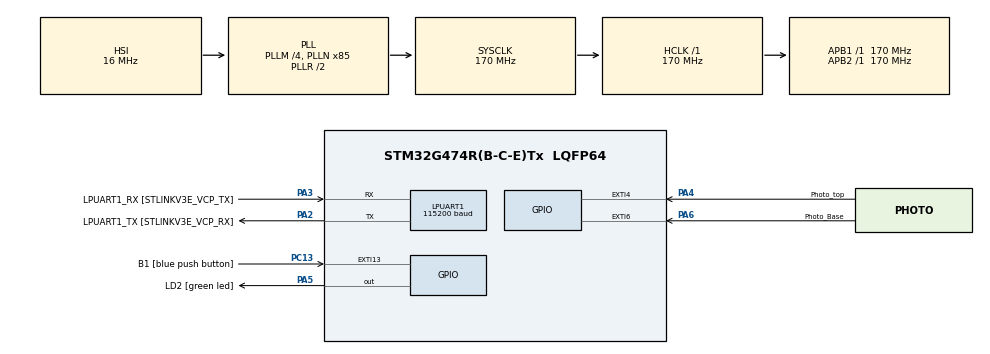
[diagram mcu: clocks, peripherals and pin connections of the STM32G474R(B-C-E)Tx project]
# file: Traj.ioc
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LPUART1.BaudRate=115200
LPUART1.WordLength=UART_WORDLENGTH_8B
Mcu.Family=STM32G4
Mcu.Name=STM32G474R(B-C-E)Tx
Mcu.Package=LQFP64
NVIC.EXTI15_10_IRQn=true\:0\:0\:false\:false\:true\:true\:true\:true
NVIC.PriorityGroup=NVIC_PRIORITYGROUP_4
PA13.GPIO_Label=T_SWDIO
PA13.Mode=Serial_Wire
PA13.Signal=SYS_JTMS-SWDIO
PA14.GPIO_Label=T_SWCLK
PA14.Mode=Serial_Wire
PA14.Signal=SYS_JTCK-SWCLK
PA2.GPIO_Label=LPUART1_TX [STLINKV3E_VCP_RX]
PA2.Mode=Asynchronous
PA2.Signal=LPUART1_TX
PA3.GPIO_Label=LPUART1_RX [STLINKV3E_VCP_TX]
PA3.Mode=Asynchronous
PA3.Signal=LPUART1_RX
PA4.GPIO_Label=Photo_top
PA4.Signal=GPXTI4
PA5.GPIO_Label=LD2 [green led]
PA5.Signal=GPIO_Output
PA6.GPIO_Label=Photo_Base
PA6.Signal=GPXTI6
PB3.GPIO_Label=T_SWO
PB3.Signal=SYS_JTDO-SWO
PC13.GPIO_Label=B1 [blue push button]
PC13.Signal=GPXTI13
PC14-OSC32_IN.Mode=LSE-External-Oscillator
PC14-OSC32_IN.Signal=RCC_OSC32_IN
PC15-OSC32_OUT.Mode=LSE-External-Oscillator
PC15-OSC32_OUT.Signal=RCC_OSC32_OUT
PF0-OSC_IN.Mode=HSE-External-Oscillator
PF0-OSC_IN.Signal=RCC_OSC_IN
PF1-OSC_OUT.Mode=HSE-External-Oscillator
PF1-OSC_OUT.Signal=RCC_OSC_OUT
ProjectManager.HeapSize=0x200
ProjectManager.StackSize=0x400
ProjectManager.TargetToolchain=STM32CubeIDE
RCC.ADC12Freq_Value=170000000
RCC.ADC345Freq_Value=170000000
RCC.AHBFreq_Value=170000000
RCC.APB1Freq_Value=170000000
RCC.APB1TimFreq_Value=170000000
RCC.APB2Freq_Value=170000000
RCC.APB2TimFreq_Value=170000000
RCC.CortexFreq_Value=170000000
RCC.EXTERNAL_CLOCK_VALUE=12288000
RCC.HCLKFreq_Value=170000000
RCC.HSE_VALUE=24000000
RCC.HSI48_VALUE=48000000
RCC.HSI_VALUE=16000000
RCC.PLLM=RCC_PLLM_DIV4
RCC.PLLN=85
RCC.RTCClockSelection=RCC_RTCCLKSOURCE_LSE
RCC.SYSCLKFreq_VALUE=170000000
RCC.SYSCLKSource=RCC_SYSCLKSOURCE_PLLCLK
RCC.USBFreq_Value=170000000
RCC.VCOOutputFreq_Value=340000000
TIM6.PeriodNoDither=10
TIM6.Prescaler=169
TIM6.TIM_MasterOutputTrigger=TIM_TRGO_UPDATE
VP_SYS_VS_DBSignals.Mode=DisableDeadBatterySignals
VP_TIM6_VS_ClockSourceINT.Mode=Enable_Timer
board=NUCLEO-G474RE

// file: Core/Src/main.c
/* USER CODE BEGIN Header */
/**
  ******************************************************************************
  * @file           : main.c
  * @brief          : Main program body
  ******************************************************************************
  * @attention
  *
  * Copyright (c) 2024 STMicroelectronics.
  * All rights reserved.
  *
  * This software is licensed under terms that can be found in the LICENSE file
  * in the root directory of this software component.
  * If no LICENSE file comes with this software, it is provided AS-IS.
  *
  ******************************************************************************
  */
/* USER CODE END Header */
#include "main.h"

UART_HandleTypeDef hlpuart1;

TIM_HandleTypeDef htim6;

/* USER CODE BEGIN PV */
//float Pos_initial = 100.0f;
//float Pos_final = 550.0f;
float Velo_max = 500.0f; // units per second
float Accel_max = 450.0f; // units per second squared

float currentPosition = 0.0f;
float currentVelocity = 0.0f;
float currentAcceleration = 0.0f;
float elapsedTime = 0.0f; // Total elapsed time in seconds

float Distance;
float Time_acc;
float Time_dec;
float Time_acc_under;
float Distance_Velo_Max;
float Time_Velo_const;
float temp_pos_acc;
float temp_pos_const;

/* USER CODE END PV */

void SystemClock_Config(void);
static void MX_GPIO_Init(void);
static void MX_LPUART1_UART_Init(void);
static void MX_TIM6_Init(void);
/* USER CODE BEGIN PFP */
void Traject(float Pos_fi,float Pos_ini);
/* USER CODE END PFP */

int main(void)
{

  /* MCU Configuration--------------------------------------------------------*/

  /* Reset of all peripherals, Initializes the Flash interface and the Systick. */
  HAL_Init();

  /* Configure the system clock */
  SystemClock_Config();

  /* Initialize all configured peripherals */
  MX_GPIO_Init();
  MX_LPUART1_UART_Init();
  MX_TIM6_Init();
  /* USER CODE BEGIN 2 */

  HAL_TIM_Base_Start(&htim6);

  /* USER CODE END 2 */

  /* Infinite loop */
  while (1)
  {

    /* USER CODE BEGIN 3 */

		  if (__HAL_TIM_GET_FLAG(&htim6, TIM_FLAG_UPDATE) != RESET)
		         {
		             // Clear the update flag
		             __HAL_TIM_CLEAR_FLAG(&htim6, TIM_FLAG_UPDATE);
		             elapsedTime += 0.00001;
		            	 Traject(500.0,0.0);
				}

  }
  /* USER CODE END 3 */
}

void SystemClock_Config(void)
{
  RCC_OscInitTypeDef RCC_OscInitStruct = {0};
  RCC_ClkInitTypeDef RCC_ClkInitStruct = {0};

  /** Configure the main internal regulator output voltage
  */
  HAL_PWREx_ControlVoltageScaling(PWR_REGULATOR_VOLTAGE_SCALE1_BOOST);

  /** Initializes the RCC Oscillators according to the specified parameters
  * in the RCC_OscInitTypeDef structure.
  */
  RCC_OscInitStruct.OscillatorType = RCC_OSCILLATORTYPE_HSI;
  RCC_OscInitStruct.HSIState = RCC_HSI_ON;
  RCC_OscInitStruct.HSICalibrationValue = RCC_HSICALIBRATION_DEFAULT;
  RCC_OscInitStruct.PLL.PLLState = RCC_PLL_ON;
  RCC_OscInitStruct.PLL.PLLSource = RCC_PLLSOURCE_HSI;
  RCC_OscInitStruct.PLL.PLLM = RCC_PLLM_DIV4;
  RCC_OscInitStruct.PLL.PLLN = 85;
  RCC_OscInitStruct.PLL.PLLP = RCC_PLLP_DIV2;
  RCC_OscInitStruct.PLL.PLLQ = RCC_PLLQ_DIV2;
  RCC_OscInitStruct.PLL.PLLR = RCC_PLLR_DIV2;
  if (HAL_RCC_OscConfig(&RCC_OscInitStruct) != HAL_OK)
  {
    Error_Handler();
  }

  /** Initializes the CPU, AHB and APB buses clocks
  */
  RCC_ClkInitStruct.ClockType = RCC_CLOCKTYPE_HCLK|RCC_CLOCKTYPE_SYSCLK
                              |RCC_CLOCKTYPE_PCLK1|RCC_CLOCKTYPE_PCLK2;
  RCC_ClkInitStruct.SYSCLKSource = RCC_SYSCLKSOURCE_PLLCLK;
  RCC_ClkInitStruct.AHBCLKDivider = RCC_SYSCLK_DIV1;
  RCC_ClkInitStruct.APB1CLKDivider = RCC_HCLK_DIV1;
  RCC_ClkInitStruct.APB2CLKDivider = RCC_HCLK_DIV1;

  if (HAL_RCC_ClockConfig(&RCC_ClkInitStruct, FLASH_LATENCY_4) != HAL_OK)
  {
    Error_Handler();
  }
}

static void MX_LPUART1_UART_Init(void)
{

  hlpuart1.Instance = LPUART1;
  hlpuart1.Init.BaudRate = 115200;
  hlpuart1.Init.WordLength = UART_WORDLENGTH_8B;
  hlpuart1.Init.StopBits = UART_STOPBITS_1;
  hlpuart1.Init.Parity = UART_PARITY_NONE;
  hlpuart1.Init.Mode = UART_MODE_TX_RX;
  hlpuart1.Init.HwFlowCtl = UART_HWCONTROL_NONE;
  hlpuart1.Init.OneBitSampling = UART_ONE_BIT_SAMPLE_DISABLE;
  hlpuart1.Init.ClockPrescaler = UART_PRESCALER_DIV1;
  hlpuart1.AdvancedInit.AdvFeatureInit = UART_ADVFEATURE_NO_INIT;
  if (HAL_UART_Init(&hlpuart1) != HAL_OK)
  {
    Error_Handler();
  }
  if (HAL_UARTEx_SetTxFifoThreshold(&hlpuart1, UART_TXFIFO_THRESHOLD_1_8) != HAL_OK)
  {
    Error_Handler();
  }
  if (HAL_UARTEx_SetRxFifoThreshold(&hlpuart1, UART_RXFIFO_THRESHOLD_1_8) != HAL_OK)
  {
    Error_Handler();
  }
  if (HAL_UARTEx_DisableFifoMode(&hlpuart1) != HAL_OK)
  {
    Error_Handler();
  }

}

static void MX_TIM6_Init(void)
{

  TIM_MasterConfigTypeDef sMasterConfig = {0};

  htim6.Instance = TIM6;
  htim6.Init.Prescaler = 169;
  htim6.Init.CounterMode = TIM_COUNTERMODE_UP;
  htim6.Init.Period = 10;
  htim6.Init.AutoReloadPreload = TIM_AUTORELOAD_PRELOAD_DISABLE;
  if (HAL_TIM_Base_Init(&htim6) != HAL_OK)
  {
    Error_Handler();
  }
  sMasterConfig.MasterOutputTrigger = TIM_TRGO_UPDATE;
  sMasterConfig.MasterSlaveMode = TIM_MASTERSLAVEMODE_DISABLE;
  if (HAL_TIMEx_MasterConfigSynchronization(&htim6, &sMasterConfig) != HAL_OK)
  {
    Error_Handler();
  }

}

static void MX_GPIO_Init(void)
{
  GPIO_InitTypeDef GPIO_InitStruct = {0};

  /* GPIO Ports Clock Enable */
  __HAL_RCC_GPIOC_CLK_ENABLE();
  __HAL_RCC_GPIOF_CLK_ENABLE();
  __HAL_RCC_GPIOA_CLK_ENABLE();
  __HAL_RCC_GPIOB_CLK_ENABLE();

  /*Configure GPIO pin Output Level */
  HAL_GPIO_WritePin(LD2_GPIO_Port, LD2_Pin, GPIO_PIN_RESET);

  /*Configure GPIO pin : B1_Pin */
  GPIO_InitStruct.Pin = B1_Pin;
  GPIO_InitStruct.Mode = GPIO_MODE_IT_RISING;
  GPIO_InitStruct.Pull = GPIO_NOPULL;
  HAL_GPIO_Init(B1_GPIO_Port, &GPIO_InitStruct);

  /*Configure GPIO pins : Photo_top_Pin Photo_Base_Pin */
  GPIO_InitStruct.Pin = Photo_top_Pin|Photo_Base_Pin;
  GPIO_InitStruct.Mode = GPIO_MODE_IT_RISING;
  GPIO_InitStruct.Pull = GPIO_NOPULL;
  HAL_GPIO_Init(GPIOA, &GPIO_InitStruct);

  /*Configure GPIO pin : LD2_Pin */
  GPIO_InitStruct.Pin = LD2_Pin;
  GPIO_InitStruct.Mode = GPIO_MODE_OUTPUT_PP;
  GPIO_InitStruct.Pull = GPIO_NOPULL;
  GPIO_InitStruct.Speed = GPIO_SPEED_FREQ_LOW;
  HAL_GPIO_Init(LD2_GPIO_Port, &GPIO_InitStruct);

  /* EXTI interrupt init*/
  HAL_NVIC_SetPriority(EXTI15_10_IRQn, 0, 0);
  HAL_NVIC_EnableIRQ(EXTI15_10_IRQn);

}

/* USER CODE BEGIN 4 */
void Traject(float Pos_fi,float Pos_ini)
{
	  Distance = Pos_fi - Pos_ini;
	  Time_acc = Velo_max / Accel_max;
	  Time_dec = Time_acc;
	  if (Distance >0)
			{
		  Distance_Velo_Max = Distance - (Velo_max * Time_acc);
		  Time_Velo_const = Distance_Velo_Max / Velo_max;
			}
	  else if(Distance < 0)
	  {
		  Accel_max = -Accel_max;
		  Velo_max = -Velo_max;
		  Distance_Velo_Max = Distance - (Velo_max * Time_acc);
		  Time_Velo_const = Distance_Velo_Max / Velo_max;
	}
	// Update trajectory phase
	float time_ref1 = Time_acc + Time_Velo_const;
	float time_ref2 = time_ref1 + Time_dec;
	if(Time_Velo_const >0)
	{
		Time_acc_under = sqrt(Distance/Accel_max);
		if (elapsedTime < Time_acc)
		{
			// Acceleration phase
			currentAcceleration = Accel_max;
			currentVelocity = Accel_max * elapsedTime;
			currentPosition = 0.5f * Accel_max * elapsedTime * elapsedTime + Pos_ini;
			temp_pos_acc = currentPosition;
			temp_pos_const = currentPosition;
		}
		else if (elapsedTime < time_ref1 )
		{
			// Constant velocity phase
			currentAcceleration = 0;
			currentVelocity = Velo_max;
			currentPosition = (Velo_max * (elapsedTime-Time_acc)) + temp_pos_acc;
			temp_pos_const = currentPosition;
		}
		else if (elapsedTime < time_ref2)
		{
			// Deceleration phase
			currentAcceleration = -Accel_max;
			currentVelocity = -(Accel_max * (elapsedTime-time_ref1)) + Velo_max;
			currentPosition = currentVelocity*(elapsedTime-time_ref1)+(0.5f*Accel_max*(elapsedTime-time_ref1)*(elapsedTime-time_ref1))+temp_pos_const ;
		}
		else {
			// Trajectory complete
			currentAcceleration = 0.0f;
			currentVelocity = 0.0f;
			 elapsedTime = 0.0f;
//			 mode ++;
//						currentPosition = 0.0f;
		}
	}
	if (Time_Velo_const<0)
	{
		float temp_velo_acc;
		Time_acc_under = sqrt(Distance/Accel_max);
//	            	currentPosition++;
		if (elapsedTime < Time_acc_under)
		{
			currentAcceleration = Accel_max;
			currentVelocity = Accel_max * elapsedTime;
			currentPosition = Pos_ini + 0.5f * Accel_max * elapsedTime * elapsedTime;
			temp_pos_acc = currentPosition;
			temp_velo_acc = currentVelocity;
//			mode ++;
		}
		else if (elapsedTime < 2*Time_acc_under)
		{
			currentAcceleration = -Accel_max;
			currentVelocity = temp_velo_acc - Accel_max*(elapsedTime-Time_acc_under);
			currentPosition = temp_pos_acc + currentVelocity *(elapsedTime-Time_acc_under)+(0.5f*Accel_max*(elapsedTime-Time_acc_under)*(elapsedTime-Time_acc_under));
//			mode ++;
		}
		else
		{
			currentAcceleration = 0.0f;
			currentVelocity = 0.0f;
			 elapsedTime = 0.0f;
//			 mode ++;
//						currentPosition = 0.0f;
		}

	}
}
/* USER CODE END 4 */

void Error_Handler(void)
{
  __disable_irq();
  while (1)
  {
  }
}
